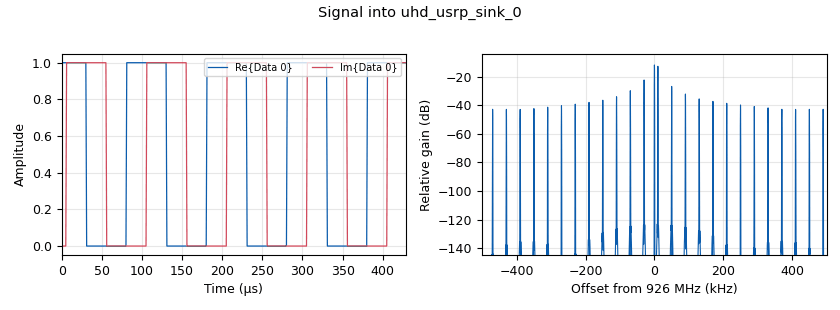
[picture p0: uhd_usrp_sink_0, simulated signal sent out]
<?xml version='1.0' encoding='utf-8'?>
<flow_graph>
<block>
<key>options</key>
<param><key>id</key><value>top_block</value></param>
<param><key>generate_options</key><value>wx_gui</value></param>
<param><key>category</key><value>Custom</value></param>
</block>
<block>
<key>variable</key>
<param><key>id</key><value>tx_gain</value></param>
<param><key>value</key><value>20</value></param>
</block>
<block>
<key>variable</key>
<param><key>id</key><value>center_freq</value></param>
<param><key>value</key><value>926000000</value></param>
</block>
<block>
<key>wxgui_scopesink2</key>
<param><key>id</key><value>wxgui_scopesink2_0</value></param>
<param><key>_enabled</key><value>False</value></param>
<param><key>type</key><value>float</value></param>
<param><key>title</key><value>Scope Plot</value></param>
<param><key>samp_rate</key><value>samp_rate</value></param>
<param><key>v_scale</key><value>0</value></param>
<param><key>v_offset</key><value>0</value></param>
<param><key>t_scale</key><value>0</value></param>
<param><key>ac_couple</key><value>False</value></param>
<param><key>xy_mode</key><value>False</value></param>
<param><key>num_inputs</key><value>1</value></param>
<param><key>trig_mode</key><value>gr.gr_TRIG_MODE_NORM</value></param>
<param><key>y_axis_label</key><value>Counts</value></param>
</block>
<block>
<key>analog_noise_source_x</key>
<param><key>id</key><value>analog_noise_source_x_0</value></param>
<param><key>_enabled</key><value>False</value></param>
<param><key>type</key><value>float</value></param>
<param><key>noise_type</key><value>analog.GR_GAUSSIAN</value></param>
<param><key>amp</key><value>1</value></param>
<param><key>seed</key><value>0</value></param>
</block>
<block>
<key>uhd_usrp_sink</key>
<param><key>id</key><value>uhd_usrp_sink_0</value></param>
<param><key>type</key><value>fc32</value></param>
<param><key>dev_addr</key><value>addr=192.168.10.107</value></param>
<param><key>sync</key><value></value></param>
<param><key>clock_rate</key><value>0.0</value></param>
<param><key>samp_rate</key><value>samp_rate</value></param>
<param><key>center_freq0</key><value>center_freq</value></param>
<param><key>gain0</key><value>tx_gain</value></param>
<param><key>ant0</key><value></value></param>
</block>
<block>
<key>variable</key>
<param><key>id</key><value>samp_rate</value></param>
<param><key>value</key><value>1000000</value></param>
</block>
<block>
<key>analog_sig_source_x</key>
<param><key>id</key><value>analog_sig_source_x_0</value></param>
<param><key>type</key><value>complex</value></param>
<param><key>samp_rate</key><value>100000</value></param>
<param><key>waveform</key><value>analog.GR_SQR_WAVE</value></param>
<param><key>freq</key><value>1000</value></param>
<param><key>amp</key><value>1</value></param>
<param><key>offset</key><value>0</value></param>
</block>
<connection><source_block_id>analog_sig_source_x_0</source_block_id><sink_block_id>uhd_usrp_sink_0</sink_block_id><source_key>0</source_key><sink_key>0</sink_key></connection>
</flow_graph>
